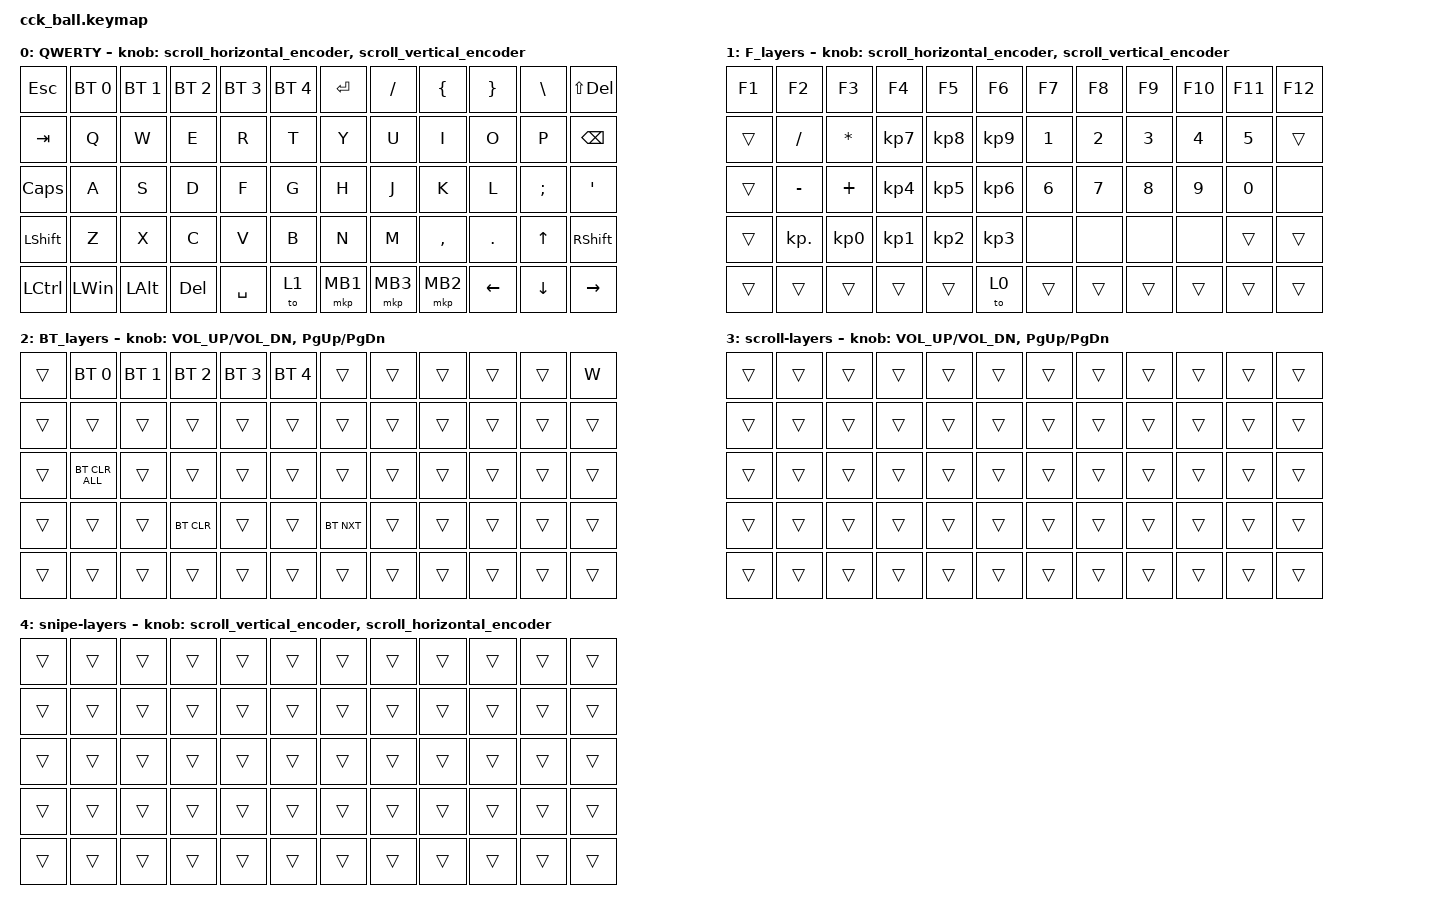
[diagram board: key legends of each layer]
#define ZMK_POINTING_DEFAULT_MOVE_VAL 1000 // 600
#define ZMK_POINTING_DEFAULT_SCRL_VAL 12   // 10

#include <input/processors.dtsi>
#include <zephyr/dt-bindings/input/input-event-codes.h>
#include <behaviors.dtsi>
#include <dt-bindings/zmk/bt.h>
#include <dt-bindings/zmk/keys.h>
#include <dt-bindings/zmk/pointing.h>

&mmv_input_listener { input-processors = <&zip_xy_scaler 2 1>; };

&msc_input_listener { input-processors = <&zip_scroll_scaler 2 1>; };

&msc {
    acceleration-exponent = <0>;      // 0
    time-to-max-speed-ms = <300>;       // 300
    delay-ms = <0>;                   // 0
};

&mmv {
    time-to-max-speed-ms = <500>;
    acceleration-exponent = <1>;
    trigger-period-ms = <16>;
};

&soft_off { hold-time-ms = <2000>; };

/ {
    // 上下スクロールエンコーダの動作

    scroll_vertical_encoder: scroll_vertical_encoder {
        compatible = "zmk,behavior-sensor-rotate";
        #sensor-binding-cells = <0>;
        bindings = <&msc SCRL_DOWN>, <&msc SCRL_UP>;

        tap-ms = <100>;
    };

    // 左右スクロールエンコーダの動作

    scroll_horizontal_encoder: scroll_horizontal_encoder {
        compatible = "zmk,behavior-sensor-rotate";
        #sensor-binding-cells = <0>;
        bindings = <&msc SCRL_LEFT>, <&msc SCRL_RIGHT>;
        tap-ms = <100>;
    };
    
    behaviors {
    };

    keymap {
        compatible = "zmk,keymap";

        QWERTY {
            bindings = <

&kp ESC           &bt BT_SEL 0  &bt BT_SEL 1  &bt BT_SEL 2  &bt BT_SEL 3  &bt BT_SEL 4  &kp ENTER  &kp SLASH  &kp LEFT_BRACE  &kp RIGHT_BRACE  &kp BACKSLASH   &kp LS(DELETE)
&kp TAB           &kp Q         &kp W         &kp E         &kp R         &kp T         &kp Y      &kp U      &kp I           &kp O            &kp P           &kp BACKSPACE
&kp CAPSLOCK      &kp A         &kp S         &kp D         &kp F         &kp G         &kp H      &kp J      &kp K           &kp L            &kp SEMI        &kp SQT
&kp LEFT_SHIFT    &kp Z         &kp X         &kp C         &kp V         &kp B         &kp N      &kp M      &kp COMMA       &kp DOT          &kp UP_ARROW    &kp RIGHT_SHIFT
&kp LEFT_CONTROL  &kp LEFT_WIN  &kp LEFT_ALT  &kp DELETE   &kp SPACE     &to 1         &mkp MB1   &mkp MB3   &mkp MB2        &kp LEFT_ARROW   &kp DOWN_ARROW  &kp RIGHT_ARROW
            >;

            sensor-bindings =
                <&scroll_horizontal_encoder>,
                <&scroll_vertical_encoder>;
        };

        F_layers {
            bindings = <
&kp F1  &kp F2      &kp F3           &kp F4           &kp F5           &kp F6           &kp F7        &kp F8        &kp F9        &kp F10       &kp F11       &kp F12
&trans  &kp SLASH   &kp ASTERISK     &kp KP_NUMBER_7  &kp KP_NUMBER_8  &kp KP_NUMBER_9  &kp NUMBER_1  &kp NUMBER_2  &kp NUMBER_3  &kp NUMBER_4  &kp NUMBER_5  &trans
&trans  &kp MINUS   &kp PLUS         &kp KP_NUMBER_4  &kp KP_NUMBER_5  &kp KP_NUMBER_6  &kp NUMBER_6  &kp NUMBER_7  &kp NUMBER_8  &kp NUMBER_9  &kp NUMBER_0  &none
&trans  &kp KP_DOT  &kp KP_NUMBER_0  &kp KP_NUMBER_1  &kp KP_NUMBER_2  &kp KP_NUMBER_3  &none         &none         &none         &none         &trans        &trans
&trans  &trans      &trans           &trans           &trans           &to 0            &trans        &trans        &trans        &trans        &trans        &trans
            >;

            sensor-bindings =
                <&scroll_horizontal_encoder>,
                <&scroll_vertical_encoder>;
        };

        BT_layers {
            bindings = <
&trans  &bt BT_SEL 0    &bt BT_SEL 1  &bt BT_SEL 2  &bt BT_SEL 3  &bt BT_SEL 4  &trans      &trans  &trans  &trans  &trans  &kp W
&trans  &trans          &trans        &trans        &trans        &trans        &trans      &trans  &trans  &trans  &trans  &trans
&trans  &bt BT_CLR_ALL  &trans        &trans        &trans        &trans        &trans      &trans  &trans  &trans  &trans  &trans
&trans  &trans          &trans        &bt BT_CLR    &trans        &trans        &bt BT_NXT  &trans  &trans  &trans  &trans  &trans
&trans  &trans          &trans        &trans        &trans        &trans        &trans      &trans  &trans  &trans  &trans  &trans
            >;

            sensor-bindings = <&inc_dec_kp C_VOL_UP C_VOL_DN &inc_dec_kp PG_UP PG_DN>;
        };

        scroll-layers {
            bindings = <
&trans  &trans  &trans  &trans  &trans  &trans  &trans  &trans  &trans  &trans  &trans  &trans
&trans  &trans  &trans  &trans  &trans  &trans  &trans  &trans  &trans  &trans  &trans  &trans
&trans  &trans  &trans  &trans  &trans  &trans  &trans  &trans  &trans  &trans  &trans  &trans
&trans  &trans  &trans  &trans  &trans  &trans  &trans  &trans  &trans  &trans  &trans  &trans
&trans  &trans  &trans  &trans  &trans  &trans  &trans  &trans  &trans  &trans  &trans  &trans
            >;

            sensor-bindings = <&inc_dec_kp C_VOL_UP C_VOL_DN &inc_dec_kp PG_UP PG_DN>;
        };

        snipe-layers {
            bindings = <
&trans  &trans  &trans  &trans  &trans  &trans  &trans  &trans  &trans  &trans  &trans  &trans
&trans  &trans  &trans  &trans  &trans  &trans  &trans  &trans  &trans  &trans  &trans  &trans
&trans  &trans  &trans  &trans  &trans  &trans  &trans  &trans  &trans  &trans  &trans  &trans
&trans  &trans  &trans  &trans  &trans  &trans  &trans  &trans  &trans  &trans  &trans  &trans
&trans  &trans  &trans  &trans  &trans  &trans  &trans  &trans  &trans  &trans  &trans  &trans
            >;

            sensor-bindings =
                <&scroll_vertical_encoder>,
                // エンコーダ1：上下スクロール,,,,,,,,,,,
                <&scroll_horizontal_encoder>;
                // エンコーダ2：左右スクロール
        };
    };
};
